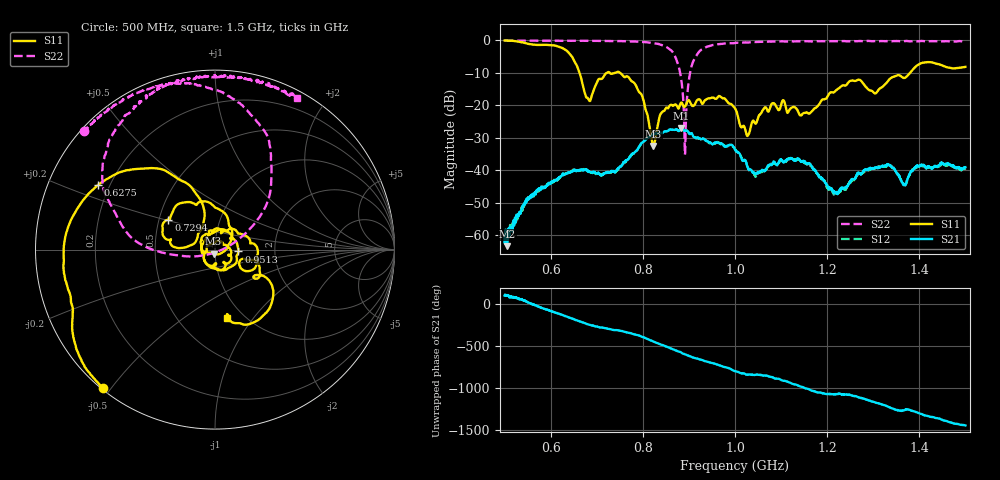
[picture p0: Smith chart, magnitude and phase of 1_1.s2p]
!Agilent Technologies,E8364B,US42250235,A.06.04.32
!Agilent E8364B: A.06.04.32
!Date: Friday, January 15, 2021 11:10:42
!Correction: S11(Full 2 Port(1,2)) S21(Full 2 Port(1,2)) S12(Full 2 Port(1,2)) S22(Full 2 Port(1,2))
!S2P File: Measurements: S11, S21, S12, S22:
# Hz S  dB  R 50
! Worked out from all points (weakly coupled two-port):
!   1601 points, 500 MHz to 1.5 GHz, reference 50 ohm
!   highest |S21| = -27.05 dB at 883.8 MHz (marker M1); lowest = -63.4 dB at 505.6 MHz (marker M2)
!   lowest |S11| = -32.6 dB at 822.5 MHz (marker M3), VSWR 1.05, Z = 49.1 - j2.17 ohm
!   |S11| at or under -10 dB: 662.6 MHz to 723 MHz (60.35 MHz wide, 8.71 % of centre); 727.8 MHz to 741.2 MHz (13.35 MHz wide, 1.82 % of centre); 750.1 MHz to 1.38 GHz (630 MHz wide, 59.2 % of centre)
!   |S22| runs from -35.3 to -0.1 dB; largest |S21 - S12| = 0.0016
!   S11 on the Smith chart (normalised r, x): 500 MHz: 0.01, -0.48; 627.5 MHz: 0.16, +0.25; 729.4 MHz: 0.56, +0.21; 951.2 MHz: 1.30, -0.03; 1.5 GHz: 0.84, -0.75
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5e8  -0.07 -128.9  -60.85 106.6  -61.24 113.1  -0.14 138.0
5.05625e8  -0.11 -131.6  -63.44 107.8  -60.62 106.3  -0.15 137.7
6.275e8  -2.57 150.9  -41.45 -130.2  -41.64 -129.4  -0.19 125.7
6.66875e8  -12.14 105.2  -39.80 151.0  -40.08 151.7  -0.17 121.5
6.83125e8  -18.52 145.4  -40.60 119.8  -40.60 119.8  -0.21 119.8
7.29375e8  -10.20 147.1  -40.66 65.4  -40.77 65.7  -0.23 113.8
7.8375e8  -13.63 74.3  -34.38 0.9  -34.48 1.5  -0.39 103.6
8.225e8  -32.55 -110.7  -29.04 -80.3  -29.11 -78.9  -0.89 92.3
8.3375e8  -25.18 -163.6  -28.68 -106.0  -28.60 -105.4  -1.15 86.9
8.66875e8  -20.07 124.0  -27.60 -178.1  -27.45 -177.7  -4.12 60.1
8.8375e8  -19.20 103.9  -27.05 145.4  -27.06 145.7  -12.51 31.5
8.925e8  -20.22 97.7  -27.74 124.4  -27.84 124.9  -29.88 -135.0
9.09375e8  -20.26 69.7  -29.60 86.5  -29.57 87.0  -6.52 171.7
9.5125e8  -17.68 -4.5  -32.03 21.5  -31.91 21.7  -1.51 134.9
1e9  -20.98 -125.5  -33.63 -74.5  -33.59 -73.9  -0.84 120.0
1.0275e9  -29.47 104.7  -39.12 -118.0  -39.07 -118.7  -0.70 115.8
1.081875e9  -19.39 -36.3  -37.82 -147.3  -38.13 -149.5  -0.42 107.2
1.166875e9  -21.83 126.3  -39.05 52.3  -38.96 56.2  -0.34 96.8
1.22e9  -15.37 30.6  -46.88 12.2  -46.81 11.7  -0.30 92.3
1.33375e9  -12.23 -15.6  -38.29 -140.6  -38.62 -137.4  -0.30 80.1
1.366875e9  -11.66 -34.5  -44.58 -179.1  -44.81 -177.7  -0.29 75.7
1.5e9  -8.22 -79.9  -39.12 -0.8  -39.46 -1.1  -0.36 61.5
